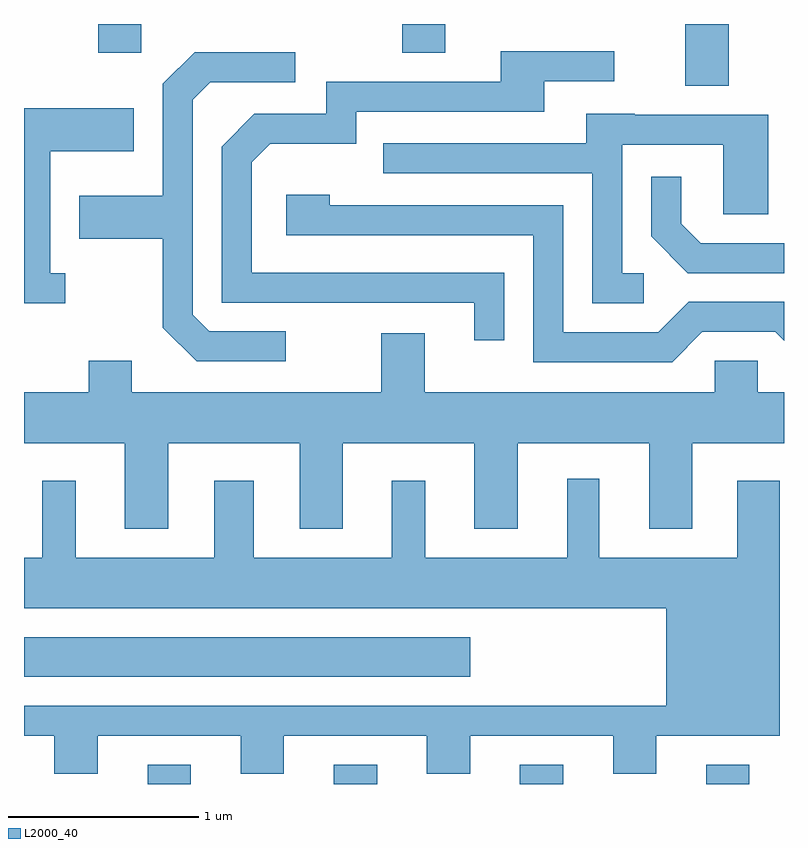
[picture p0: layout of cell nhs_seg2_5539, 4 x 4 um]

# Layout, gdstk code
import gdstk
lib = gdstk.Library(unit=1e-6, precision=1e-09)
def R(c, l, rs):  # rectangles x0, y0, x1, y1
    for r in rs: c.add(gdstk.rectangle(r[:2], r[2:], *l))
def A(c, l, x, y, w, h, nx, ny, dx, dy):  # array of equal rectangles
    R(c, l, [(x+i*dx, y+j*dy, x+i*dx+w, y+j*dy+h) for i in range(nx) for j in range(ny)])
def P(c, l, *ps):  # polygons
    for p in ps: c.add(gdstk.Polygon(p, *l))
L2000_40 = (2000, 40)

nhs_seg2_5539 = lib.new_cell('nhs_seg2_5539')
A(nhs_seg2_5539, L2000_40, 348.261, 1099.802, 0.228, 0.102, 4, 1, 0.98, 0)
R(nhs_seg2_5539, L2000_40, [(347.611,1100.366,349.959,1100.574), (351.091,1103.476,351.319,1103.802), (348.001,1103.651,348.229,1103.802), (349.601,1103.651,349.829,1103.802)])
P(nhs_seg2_5539, L2000_40, [(350.139,1102.494),(348.809,1102.494),(348.809,1103.074),(348.907,1103.171),(349.359,1103.171),(349.359,1103.341),(350.349,1103.341),(350.349,1103.501),(350.718,1103.501),(350.718,1103.659),(350.121,1103.659),(350.121,1103.499),(349.201,1103.499),(349.201,1103.329),(348.824,1103.329),(348.651,1103.157),(348.651,1102.336),(349.981,1102.336),(349.981,1102.138),(350.139,1102.138)],
  [(348.988,1102.184),(348.587,1102.184),(348.499,1102.272),(348.499,1103.404),(348.592,1103.496),(349.038,1103.496),(349.038,1103.654),(348.509,1103.654),(348.341,1103.487),(348.341,1102.899),(347.901,1102.899),(347.901,1102.671),(348.341,1102.671),(348.341,1102.204),(348.519,1102.026),(348.988,1102.026)],
  [(347.828,1102.489),(347.749,1102.489),(347.749,1103.131),(348.189,1103.131),(348.189,1103.359),(347.611,1103.359),(347.611,1102.331),(347.828,1102.331)],
  [(350.873,1102.489),(350.759,1102.489),(350.759,1103.166),(351.291,1103.166),(351.291,1102.801),(351.529,1102.801),(351.529,1103.324),(350.825,1103.324),(350.825,1103.329),(350.571,1103.329),(350.571,1103.174),(349.503,1103.174),(349.503,1103.016),(350.601,1103.016),(350.601,1102.331),(350.873,1102.331)],
  [(351.611,1102.649),(351.172,1102.649),(351.069,1102.752),(351.069,1102.998),(350.911,1102.998),(350.911,1102.684),(351.104,1102.491),(351.611,1102.491)],
  [(351.182,1102.181),(351.564,1102.181),(351.611,1102.134),(351.611,1102.339),(351.109,1102.339),(350.949,1102.179),(350.449,1102.179),(350.449,1102.849),(349.219,1102.849),(349.219,1102.904),(348.991,1102.904),(348.991,1102.691),(350.291,1102.691),(350.291,1102.021),(351.022,1102.021)],
  [(348.369,1101.596),(349.061,1101.596),(349.061,1101.146),(349.289,1101.146),(349.289,1101.596),(349.981,1101.596),(349.981,1101.146),(350.209,1101.146),(350.209,1101.596),(350.901,1101.596),(350.901,1101.146),(351.129,1101.146),(351.129,1101.596),(351.611,1101.596),(351.611,1101.864),(351.474,1101.864),(351.474,1102.029),(351.246,1102.029),(351.246,1101.864),(349.719,1101.864),(349.719,1102.174),(349.491,1102.174),(349.491,1101.864),(348.179,1101.864),(348.179,1102.029),(347.951,1102.029),(347.951,1101.864),(347.611,1101.864),(347.611,1101.596),(348.141,1101.596),(348.141,1101.146),(348.369,1101.146)],
  [(347.999,1100.056),(348.751,1100.056),(348.751,1099.856),(348.979,1099.856),(348.979,1100.056),(349.731,1100.056),(349.731,1099.856),(349.959,1099.856),(349.959,1100.056),(350.711,1100.056),(350.711,1099.856),(350.939,1099.856),(350.939,1100.056),(351.589,1100.056),(351.589,1101.399),(351.366,1101.399),(351.366,1100.994),(350.639,1100.994),(350.639,1101.408),(350.471,1101.408),(350.471,1100.994),(349.724,1100.994),(349.724,1101.399),(349.546,1101.399),(349.546,1100.994),(348.819,1100.994),(348.819,1101.399),(348.611,1101.399),(348.611,1100.994),(347.884,1100.994),(347.884,1101.399),(347.706,1101.399),(347.706,1100.994),(347.611,1100.994),(347.611,1100.726),(350.991,1100.726),(350.991,1100.214),(347.611,1100.214),(347.611,1100.056),(347.771,1100.056),(347.771,1099.856),(347.999,1099.856)])

lib.write_gds('nhs_seg2_5539.gds')
